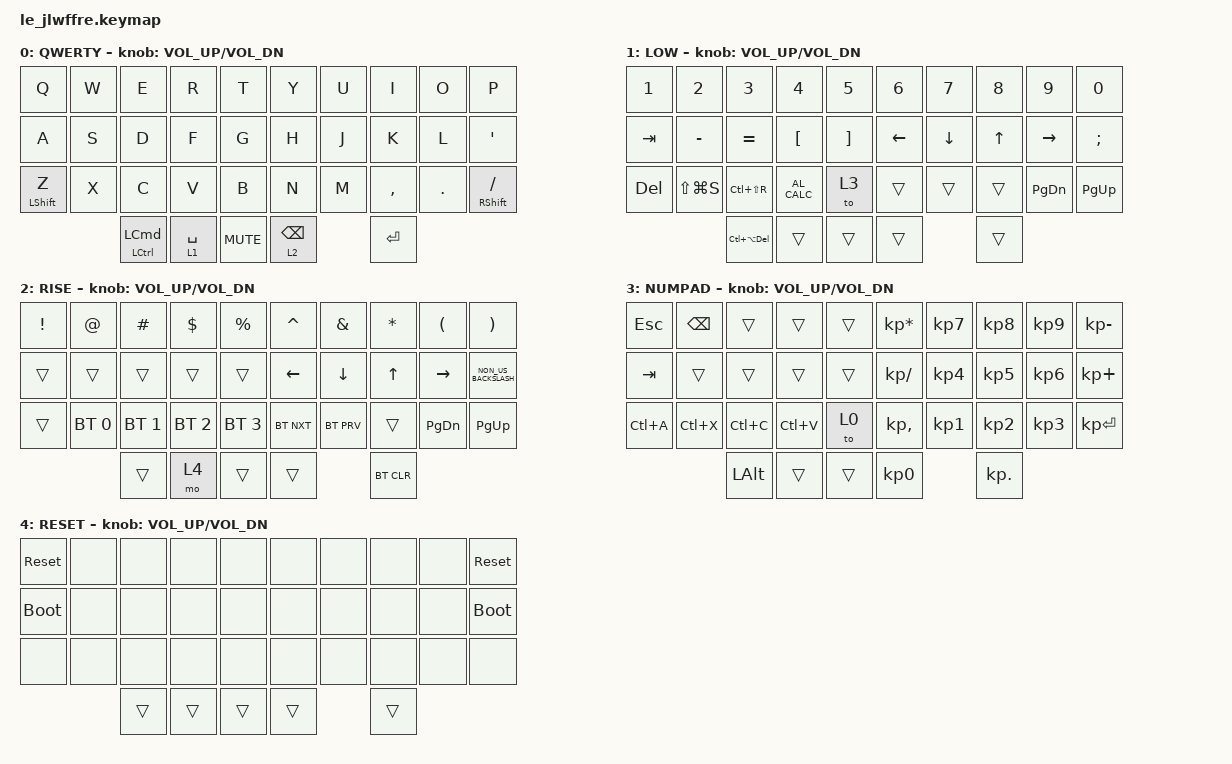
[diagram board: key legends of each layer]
/*
 * Copyright (c) 2022 The ZMK Contributors
 *
 * SPDX-License-Identifier: MIT
 */

#include <behaviors.dtsi>
#include <dt-bindings/zmk/bt.h>
#include <dt-bindings/zmk/keys.h>

/ {
    combos {
        compatible = "zmk,combos";

        combo_esc {
            timeout-ms = <50>;
            key-positions = <0 1>;
            bindings = <&kp ESC>;
        };
    };

    keymap {
        compatible = "zmk,keymap";

        QWERTY {
            bindings = <
&kp Q             &kp W  &kp E           &kp R        &kp T         &kp Y            &kp U  &kp I      &kp O    &kp P
&kp A             &kp S  &kp D           &kp F        &kp G         &kp H            &kp J  &kp K      &kp L    &kp SQT
&mt LEFT_SHIFT Z  &kp X  &kp C           &kp V        &kp B         &kp N            &kp M  &kp COMMA  &kp DOT  &mt RSHFT SLASH
                         &mt LCTRL LCMD  &lt 1 SPACE  &kp C_MUTE    &lt 2 BACKSPACE         &kp ENTER
            >;

            sensor-bindings = <&inc_dec_kp C_VOL_UP C_VOL_DN>;
        };

        LOW {
            bindings = <
&kp N1      &kp N2         &kp N3              &kp N4            &kp N5               &kp N6    &kp N7    &kp N8        &kp N9     &kp N0
&kp TAB     &kp MINUS      &kp EQUAL           &kp LEFT_BRACKET  &kp RIGHT_BRACKET    &kp LEFT  &kp DOWN  &kp UP_ARROW  &kp RIGHT  &kp SEMICOLON
&kp DELETE  &kp LS(LG(S))  &kp LC(LS(R))       &kp C_AL_CALC     &to 3                &trans    &trans    &trans        &kp PG_DN  &kp PG_UP
                           &kp LC(LA(DELETE))  &trans            &trans               &trans              &trans
            >;

            sensor-bindings = <&inc_dec_kp C_VOL_UP C_VOL_DN>;
        };

        RISE {
            bindings = <
&kp EXCLAMATION  &kp AT_SIGN   &kp HASH      &kp DOLLAR    &kp PERCENT     &kp CARET   &kp AMPERSAND  &kp ASTERISK  &kp LEFT_PARENTHESIS  &kp RIGHT_PARENTHESIS
&trans           &trans        &trans        &trans        &trans          &kp LEFT    &kp DOWN       &kp UP_ARROW  &kp RIGHT             &kp NON_US_BACKSLASH
&trans           &bt BT_SEL 0  &bt BT_SEL 1  &bt BT_SEL 2  &bt BT_SEL 3    &bt BT_NXT  &bt BT_PRV     &trans        &kp PG_DN             &kp PG_UP
                               &trans        &mo 4         &trans          &trans                     &bt BT_CLR
            >;

            sensor-bindings = <&inc_dec_kp C_VOL_UP C_VOL_DN>;
        };

        NUMPAD {
            bindings = <
&kp ESCAPE  &kp BACKSPACE  &trans     &trans     &trans    &kp KP_MULTIPLY  &kp KP_NUMBER_7  &kp KP_NUMBER_8  &kp KP_NUMBER_9  &kp KP_MINUS
&kp TAB     &trans         &trans     &trans     &trans    &kp KP_SLASH     &kp KP_NUMBER_4  &kp KP_NUMBER_5  &kp KP_NUMBER_6  &kp KP_PLUS
&kp LC(A)   &kp LC(X)      &kp LC(C)  &kp LC(V)  &to 0     &kp KP_COMMA     &kp KP_NUMBER_1  &kp KP_NUMBER_2  &kp KP_NUMBER_3  &kp KP_ENTER
                           &kp LALT   &trans     &trans    &kp KP_NUMBER_0                   &kp KP_DOT
            >;

            sensor-bindings = <&inc_dec_kp C_VOL_UP C_VOL_DN>;
        };

        RESET {
            bindings = <
&sys_reset   &none  &none   &none   &none     &none   &none  &none   &none  &sys_reset
&bootloader  &none  &none   &none   &none     &none   &none  &none   &none  &bootloader
&none        &none  &none   &none   &none     &none   &none  &none   &none  &none
                    &trans  &trans  &trans    &trans         &trans
            >;

            sensor-bindings = <&inc_dec_kp C_VOL_UP C_VOL_DN>;
        };
    };
};
